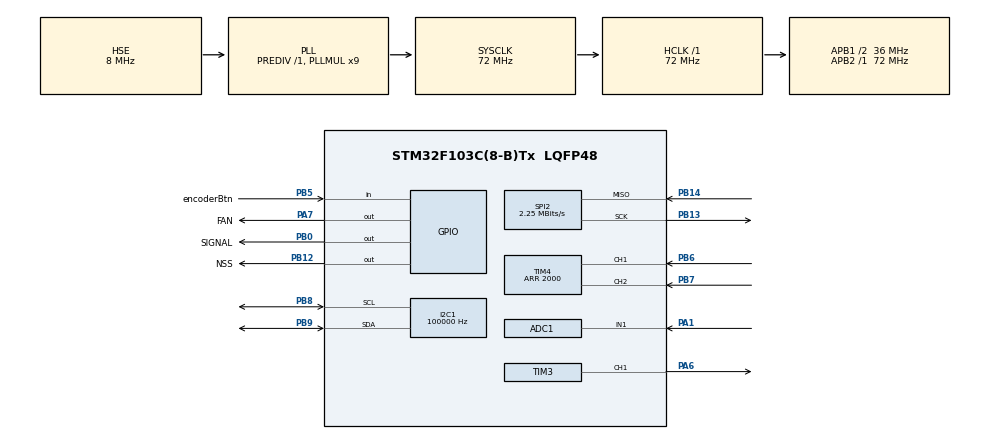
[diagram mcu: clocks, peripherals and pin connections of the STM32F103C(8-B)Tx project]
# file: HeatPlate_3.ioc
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ADC1.Channel-4\#ChannelRegularConversion=ADC_CHANNEL_1
ADC1.ContinuousConvMode=ENABLE
ADC1.EnableInjectedConversion=DISABLE
ADC1.ExternalTrigConv=ADC_SOFTWARE_START
ADC1.InjNumberOfConversion=0
ADC1.NbrOfConversion=1
ADC1.NbrOfConversionFlag=1
ADC1.Rank-4\#ChannelRegularConversion=1
ADC1.SamplingTime-4\#ChannelRegularConversion=ADC_SAMPLETIME_71CYCLES_5
ADC1.master=1
Dma.ADC1.0.Direction=DMA_PERIPH_TO_MEMORY
Dma.ADC1.0.Instance=DMA1_Channel1
Dma.ADC1.0.MemDataAlignment=DMA_MDATAALIGN_WORD
Dma.ADC1.0.MemInc=DMA_MINC_ENABLE
Dma.ADC1.0.Mode=DMA_CIRCULAR
Dma.ADC1.0.PeriphDataAlignment=DMA_PDATAALIGN_WORD
Dma.ADC1.0.PeriphInc=DMA_PINC_DISABLE
Dma.ADC1.0.Priority=DMA_PRIORITY_LOW
Dma.Request0=ADC1
I2C1.ClockSpeed=100000
I2C1.I2C_Mode=I2C_Standard
Mcu.Family=STM32F1
Mcu.Name=STM32F103C(8-B)Tx
Mcu.Package=LQFP48
NVIC.DMA1_Channel1_IRQn=true\:0\:0\:false\:false\:true\:false\:true\:true
NVIC.PriorityGroup=NVIC_PRIORITYGROUP_4
NVIC.SPI2_IRQn=true\:0\:0\:false\:false\:true\:true\:true\:true
NVIC.TIM2_IRQn=true\:0\:0\:false\:false\:true\:true\:true\:true
PA1.Signal=ADCx_IN1
PA13.Mode=Serial_Wire
PA13.Signal=SYS_JTMS-SWDIO
PA14.Mode=Serial_Wire
PA14.Signal=SYS_JTCK-SWCLK
PA6.Signal=S_TIM3_CH1
PA7.GPIO_Label=FAN
PA7.Signal=GPIO_Output
PB0.GPIO_Label=SIGNAL
PB0.Signal=GPIO_Output
PB12.GPIO_Label=NSS
PB12.Signal=GPIO_Output
PB13.Mode=RX_Only_Simplex_Unidirect_Master
PB13.Signal=SPI2_SCK
PB14.Mode=RX_Only_Simplex_Unidirect_Master
PB14.Signal=SPI2_MISO
PB5.GPIO_Label=encoderBtn
PB5.Signal=GPIO_Input
PB6.Signal=S_TIM4_CH1
PB7.Signal=S_TIM4_CH2
PB8.Mode=I2C
PB8.Signal=I2C1_SCL
PB9.Mode=I2C
PB9.Signal=I2C1_SDA
PD0-OSC_IN.Mode=HSE-External-Oscillator
PD0-OSC_IN.Signal=RCC_OSC_IN
PD1-OSC_OUT.Mode=HSE-External-Oscillator
PD1-OSC_OUT.Signal=RCC_OSC_OUT
ProjectManager.HeapSize=0x200
ProjectManager.StackSize=0x400
ProjectManager.TargetToolchain=STM32CubeIDE
RCC.ADCPresc=RCC_ADCPCLK2_DIV6
RCC.AHBFreq_Value=72000000
RCC.APB1CLKDivider=RCC_HCLK_DIV2
RCC.APB1Freq_Value=36000000
RCC.APB1TimFreq_Value=72000000
RCC.APB2Freq_Value=72000000
RCC.APB2TimFreq_Value=72000000
RCC.HCLKFreq_Value=72000000
RCC.PLLMUL=RCC_PLL_MUL9
RCC.PLLSourceVirtual=RCC_PLLSOURCE_HSE
RCC.SYSCLKFreq_VALUE=72000000
RCC.SYSCLKSource=RCC_SYSCLKSOURCE_PLLCLK
RCC.USBFreq_Value=72000000
SH.ADCx_IN1.0=ADC1_IN1,IN1
SH.S_TIM3_CH1.0=TIM3_CH1,PWM Generation1 CH1
SH.S_TIM4_CH1.0=TIM4_CH1,Encoder_Interface
SH.S_TIM4_CH2.0=TIM4_CH2,Encoder_Interface
SPI2.BaudRatePrescaler=SPI_BAUDRATEPRESCALER_16
SPI2.CLKPolarity=SPI_POLARITY_LOW
SPI2.CRCCalculation=SPI_CRCCALCULATION_ENABLE
SPI2.CalculateBaudRate=2.25 MBits/s
SPI2.DataSize=SPI_DATASIZE_16BIT
SPI2.Direction=SPI_DIRECTION_2LINES_RXONLY
SPI2.Mode=SPI_MODE_MASTER
SPI2.VirtualType=VM_MASTER
TIM2.Period=2000-1
TIM2.Prescaler=720-1
TIM3.AutoReloadPreload=TIM_AUTORELOAD_PRELOAD_DISABLE
TIM3.Channel-PWM\ Generation1\ CH1=TIM_CHANNEL_1
TIM3.Period=200-1
TIM3.Prescaler=10000-1
TIM4.AutoReloadPreload=TIM_AUTORELOAD_PRELOAD_ENABLE
TIM4.CounterMode=TIM_COUNTERMODE_UP
TIM4.EncoderMode=TIM_ENCODERMODE_TI12
TIM4.IC1Filter=10
TIM4.IC2Filter=10
TIM4.Period=2000
VP_TIM2_VS_ClockSourceINT.Mode=Internal
VP_TIM3_VS_ClockSourceINT.Mode=Internal
board=custom

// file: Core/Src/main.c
/* USER CODE BEGIN Header */
/**
 ******************************************************************************
 * @file           : main.c
 * @brief          : Main program body
 ******************************************************************************
 * @attention
 *
 * Copyright (c) 2024 STMicroelectronics.
 * All rights reserved.
 *
 * This software is licensed under terms that can be found in the LICENSE file
 * in the root directory of this software component.
 * If no LICENSE file comes with this software, it is provided AS-IS.
 *
 ******************************************************************************
 */
/* USER CODE END Header */
#include "main.h"
#include "adc.h"
#include "dma.h"
#include "i2c.h"
#include "spi.h"
#include "tim.h"
#include "gpio.h"

/* USER CODE BEGIN Includes */
#include "meun.h"
#include"NTCtempSensor.h"
#include "heating.h"
#include "config.h"
#include"MAX6675.h"
/* USER CODE END Includes */

/* USER CODE BEGIN PTD */
ENCODER_TypeDef encoder;
MEUN_TypeDef meun;
NTC_TypeDef ntc0;
HEATING_TypeDef heating;
ERROR_TypeDef _error;
/* USER CODE END PTD */

/* USER CODE BEGIN PV */
uint32_t counter_TM2 = 0;
uint32_t counter_TM3 = 0;
uint8_t _isDisplayTheWellcome;

float currentTemp;
long double _resistor;
uint16_t _num;
uint32_t adcValue;
uint8_t err = 3;

int encoder_State = 0;
int lastEncoder_State = 0;
int Btn_state = 0;
/* USER CODE END PV */

void SystemClock_Config(void);

int main(void)
{

  /* MCU Configuration--------------------------------------------------------*/

  /* Reset of all peripherals, Initializes the Flash interface and the Systick. */
  HAL_Init();

  /* Configure the system clock */
  SystemClock_Config();

  /* Initialize all configured peripherals */
  MX_GPIO_Init();
  MX_DMA_Init();
  MX_ADC1_Init();
  MX_TIM2_Init();
  MX_TIM3_Init();
  MX_I2C1_Init();
  MX_TIM4_Init();
  MX_SPI2_Init();
  /* USER CODE BEGIN 2 */
	HAL_TIM_Base_Start_IT(&htim2);
	HAL_TIM_Base_Start_IT(&htim3);
	HAL_TIM_PWM_Start(&htim3, TIM_CHANNEL_1);
	HAL_TIM_Encoder_Start(&htim4, TIM_CHANNEL_ALL);
	HAL_ADC_Start_DMA(&hadc1, &adcValue, 1);
	meunInit(&meun, INIT_TEMP);
	init_pid(&heating);
  /* USER CODE END 2 */

  /* Infinite loop */
  /* USER CODE BEGIN WHILE */

//	(TIM4->CNT) = 500;
	while (1) {
    /* USER CODE END WHILE */

    /* USER CODE BEGIN 3 */

		selectMeunHandler(&meun, &encoder);
		//each tick = 50ms
		//per 25*50ms run once
		if (counter_TM2 % 25 == 0) {
			displayMeunHandler(&meun, &_error);

		}

// per 20*50ms run once
//for max6675 update and error check
		if(counter_TM2 % 10 == 0){
//			currentTemp = currentTemp * 15 + calTemp(&ntc0, adcValue);
//			currentTemp /= 16;
			currentTemp = Max6675_Read_Temp();
//			_resistor = *&ntc0.resistor;
//			_num= getTableNum(&ntc0);
			if(meun.nowTemp != (int)(currentTemp+0.5)){
				meun.nowTemp = (currentTemp+0.5);
				meun.meunNeedUpdate = 1;
			}
			errorHandler(&_error, currentTemp);
//				meun.nowTemp = Max6675_Read_Temp();
		}

		if(meun.nowTemp > 40){
			HAL_GPIO_WritePin(FAN_GPIO_Port, FAN_Pin, SET);
		} else if(meun.nowTemp <30){
			HAL_GPIO_WritePin(FAN_GPIO_Port, FAN_Pin, RESET);
		}

		// per 1*36ms run once
		if(counter_TM3 % 1 == 0){
			if(meun.meunIndex == Heating){
				cal_pid(&heating, currentTemp, meun.targetTemp);
				TIM3->CCR1 = heating.pwm_duty;
			} else {
				heating.pwm_duty = 0;
				TIM3->CCR1 = 0;
			}
		}

	}
  /* USER CODE END 3 */
}

void SystemClock_Config(void)
{
  RCC_OscInitTypeDef RCC_OscInitStruct = {0};
  RCC_ClkInitTypeDef RCC_ClkInitStruct = {0};
  RCC_PeriphCLKInitTypeDef PeriphClkInit = {0};

  /** Initializes the RCC Oscillators according to the specified parameters
  * in the RCC_OscInitTypeDef structure.
  */
  RCC_OscInitStruct.OscillatorType = RCC_OSCILLATORTYPE_HSE;
  RCC_OscInitStruct.HSEState = RCC_HSE_ON;
  RCC_OscInitStruct.HSEPredivValue = RCC_HSE_PREDIV_DIV1;
  RCC_OscInitStruct.HSIState = RCC_HSI_ON;
  RCC_OscInitStruct.PLL.PLLState = RCC_PLL_ON;
  RCC_OscInitStruct.PLL.PLLSource = RCC_PLLSOURCE_HSE;
  RCC_OscInitStruct.PLL.PLLMUL = RCC_PLL_MUL9;
  if (HAL_RCC_OscConfig(&RCC_OscInitStruct) != HAL_OK)
  {
    Error_Handler();
  }

  /** Initializes the CPU, AHB and APB buses clocks
  */
  RCC_ClkInitStruct.ClockType = RCC_CLOCKTYPE_HCLK|RCC_CLOCKTYPE_SYSCLK
                              |RCC_CLOCKTYPE_PCLK1|RCC_CLOCKTYPE_PCLK2;
  RCC_ClkInitStruct.SYSCLKSource = RCC_SYSCLKSOURCE_PLLCLK;
  RCC_ClkInitStruct.AHBCLKDivider = RCC_SYSCLK_DIV1;
  RCC_ClkInitStruct.APB1CLKDivider = RCC_HCLK_DIV2;
  RCC_ClkInitStruct.APB2CLKDivider = RCC_HCLK_DIV1;

  if (HAL_RCC_ClockConfig(&RCC_ClkInitStruct, FLASH_LATENCY_2) != HAL_OK)
  {
    Error_Handler();
  }
  PeriphClkInit.PeriphClockSelection = RCC_PERIPHCLK_ADC;
  PeriphClkInit.AdcClockSelection = RCC_ADCPCLK2_DIV6;
  if (HAL_RCCEx_PeriphCLKConfig(&PeriphClkInit) != HAL_OK)
  {
    Error_Handler();
  }
}

/* USER CODE BEGIN 4 */

void HAL_TIM_PeriodElapsedCallback(TIM_HandleTypeDef *htim) {

	if (htim->Instance == TIM2) { //50ms per tick
		counter_TM2 = counter_TM2 > 500 ? 1 : counter_TM2 + 1;
		HAL_GPIO_TogglePin(GPIOB, SIGNAL_Pin);
	}

	if (htim->Instance == TIM3) { //50ms per tick
		counter_TM3 = counter_TM3 > 500 ? 1 : counter_TM3 + 1;
	}

}

/* USER CODE END 4 */

void Error_Handler(void)
{
	__disable_irq();
	while (1) {
	}
}
